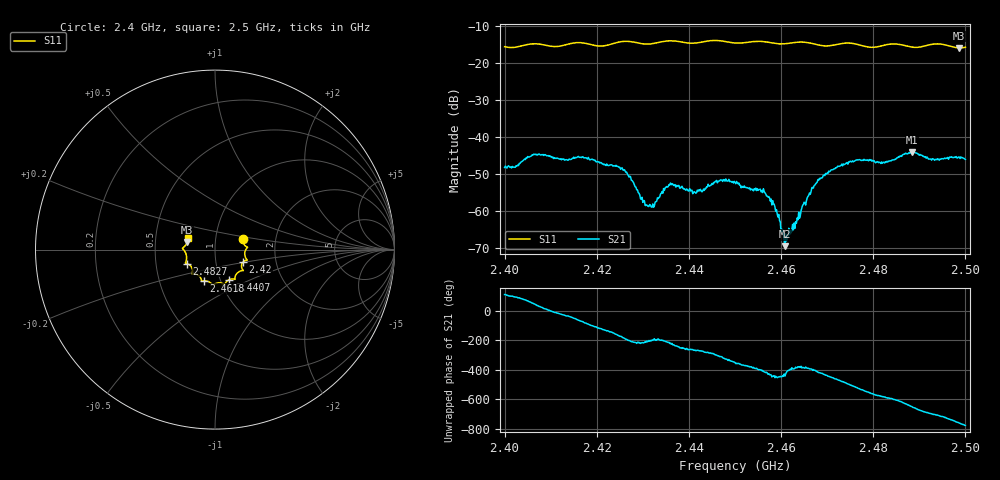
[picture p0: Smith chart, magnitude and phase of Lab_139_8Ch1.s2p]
# Hz S RI R 50
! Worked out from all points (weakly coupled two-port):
!   601 points, 2.4 GHz to 2.5 GHz, reference 50 ohm
!   highest |S21| = -44.18 dB at 2.4883 GHz (marker M1); lowest = -69.6 dB at 2.4608 GHz (marker M2)
!   lowest |S11| = -15.9 dB at 2.4987 GHz (marker M3), VSWR 1.38, Z = 36.5 + j3.24 ohm
!   |S11| at or under -10 dB: start of sweep to end of sweep
!   S12 and S22 are empty: the file has one direction only
!   S11 on the Smith chart (normalised r, x): 2.4 GHz: 1.35, +0.17; 2.42 GHz: 1.35, -0.19; 2.4407 GHz: 1.10, -0.38; 2.4618 GHz: 0.83, -0.30; 2.4827 GHz: 0.72, -0.12; 2.5 GHz: 0.73, +0.10
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2.4e9  0.1545 0.0613  -0.00123 0.00364  0 0  0 0
2.4065e9  0.1816 0.0127  0.00409 0.00406  0 0  0 0
2.416667e9  0.1788 -0.0586  0.00163 -0.00498  0 0  0 0
2.42e9  0.1564 -0.0691  -0.00183 -0.00421  0 0  0 0
2.426e9  0.1579 -0.1169  -0.00355 0.00047  0 0  0 0
2.431e9  0.1243 -0.1308  -0.001 0.000603  0 0  0 0
2.433333e9  0.1117 -0.153  -0.00143 0.000299  0 0  0 0
2.436167e9  0.111 -0.1661  -0.00154 0.00163  0 0  0 0
2.440667e9  0.0792 -0.1674  -0.000159 0.00189  0 0  0 0
2.45e9  0.0267 -0.1848  0.00239 0.000319  0 0  0 0
2.456667e9  -0.0159 -0.1928  0.000848 -0.00146  0 0  0 0
2.458667e9  -0.0291 -0.182  -8.9e-05 -0.00112  0 0  0 0
2.460833e9  -0.0515 -0.1748  3.78e-05 -0.000329  0 0  0 0
2.461833e9  -0.0614 -0.175  0.00035 -0.000319  0 0  0 0
2.466667e9  -0.0758 -0.1682  0.00165 -0.00122  0 0  0 0
2.469833e9  -0.094 -0.1422  0.000671 -0.00307  0 0  0 0
2.474667e9  -0.1268 -0.1362  -0.00342 -0.00305  0 0  0 0
2.482667e9  -0.1579 -0.0777  -0.00306 0.00344  0 0  0 0
2.483333e9  -0.1617 -0.0768  -0.0029 0.0037  0 0  0 0
2.488333e9  -0.1583 -0.0445  0.00208 0.00582  0 0  0 0
2.498667e9  -0.154 0.0432  0.00395 -0.00358  0 0  0 0
2.5e9  -0.1509 0.0632  0.00259 -0.0042  0 0  0 0
